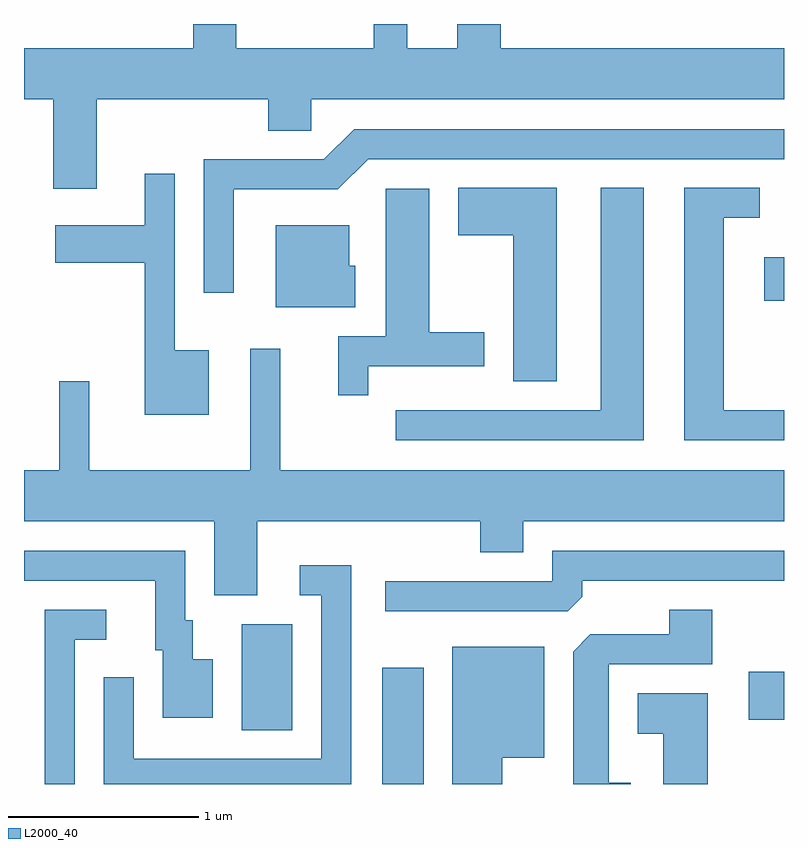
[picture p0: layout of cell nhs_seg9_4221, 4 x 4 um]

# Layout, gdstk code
import gdstk
lib = gdstk.Library(unit=1e-6, precision=1e-09)
def R(c, l, rs):  # rectangles x0, y0, x1, y1
    for r in rs: c.add(gdstk.rectangle(r[:2], r[2:], *l))
def P(c, l, *ps):  # polygons
    for p in ps: c.add(gdstk.Polygon(p, *l))
L2000_40 = (2000, 40)

nhs_seg9_4221 = lib.new_cell('nhs_seg9_4221')
R(nhs_seg9_4221, L2000_40, [(311.496,1990.432,311.714,1991.044), (310.756,1990.716,311.024,1991.274), (313.426,1990.771,313.611,1991.024), (313.506,1992.976,313.611,1993.204)])
P(nhs_seg9_4221, L2000_40, [(309.994,1994.036),(310.896,1994.036),(310.896,1993.871),(311.124,1993.871),(311.124,1994.036),(313.611,1994.036),(313.611,1994.304),(312.119,1994.304),(312.119,1994.432),(311.891,1994.432),(311.891,1994.304),(311.629,1994.304),(311.629,1994.432),(311.451,1994.432),(311.451,1994.304),(310.729,1994.304),(310.729,1994.432),(310.501,1994.432),(310.501,1994.304),(309.611,1994.304),(309.611,1994.036),(309.766,1994.036),(309.766,1993.566),(309.994,1993.566)],
  [(310.714,1993.561),(311.262,1993.561),(311.422,1993.721),(313.611,1993.721),(313.611,1993.879),(311.349,1993.879),(311.189,1993.719),(310.556,1993.719),(310.556,1993.018),(310.714,1993.018)],
  [(310.584,1992.714),(310.404,1992.714),(310.404,1993.643),(310.246,1993.643),(310.246,1993.374),(309.776,1993.374),(309.776,1993.176),(310.246,1993.176),(310.246,1992.376),(310.584,1992.376)],
  [(312.874,1993.569),(312.646,1993.569),(312.646,1992.399),(311.568,1992.399),(311.568,1992.241),(312.874,1992.241)],
  [(313.611,1992.399),(313.294,1992.399),(313.294,1993.411),(313.483,1993.411),(313.483,1993.569),(313.086,1993.569),(313.086,1992.241),(313.611,1992.241)],
  [(312.414,1993.569),(311.896,1993.569),(311.896,1993.321),(312.186,1993.321),(312.186,1992.551),(312.414,1992.551)],
  [(311.424,1992.631),(312.034,1992.631),(312.034,1992.809),(311.744,1992.809),(311.744,1993.564),(311.516,1993.564),(311.516,1992.789),(311.266,1992.789),(311.266,1992.478),(311.424,1992.478)],
  [(311.354,1993.159),(311.324,1993.159),(311.324,1993.374),(310.936,1993.374),(310.936,1992.941),(311.354,1992.941)],
  [(310.839,1991.816),(312.011,1991.816),(312.011,1991.651),(312.239,1991.651),(312.239,1991.816),(313.611,1991.816),(313.611,1992.084),(310.959,1992.084),(310.959,1992.723),(310.801,1992.723),(310.801,1992.084),(309.954,1992.084),(309.954,1992.553),(309.796,1992.553),(309.796,1992.084),(309.611,1992.084),(309.611,1991.816),(310.611,1991.816),(310.611,1991.426),(310.839,1991.426)],
  [(312.549,1991.417),(312.549,1991.501),(313.611,1991.501),(313.611,1991.659),(312.391,1991.659),(312.391,1991.499),(311.513,1991.499),(311.513,1991.341),(312.474,1991.341)],
  [(310.604,1991.089),(310.499,1991.089),(310.499,1991.294),(310.459,1991.294),(310.459,1991.659),(309.611,1991.659),(309.611,1991.501),(310.301,1991.501),(310.301,1991.136),(310.341,1991.136),(310.341,1990.781),(310.604,1990.781)],
  [(311.334,1991.584),(311.063,1991.584),(311.063,1991.426),(311.176,1991.426),(311.176,1990.564),(310.189,1990.564),(310.189,1990.993),(310.031,1990.993),(310.031,1990.432),(311.334,1990.432)],
  [(312.804,1990.439),(312.689,1990.439),(312.689,1991.061),(313.234,1991.061),(313.234,1991.349),(313.006,1991.349),(313.006,1991.219),(312.592,1991.219),(312.501,1991.129),(312.501,1990.432),(312.804,1990.432)],
  [(309.879,1991.191),(310.043,1991.191),(310.043,1991.349),(309.721,1991.349),(309.721,1990.432),(309.879,1990.432)],
  [(312.129,1990.571),(312.349,1990.571),(312.349,1991.154),(311.866,1991.154),(311.866,1990.432),(312.129,1990.432)],
  [(313.209,1990.909),(312.841,1990.909),(312.841,1990.696),(312.976,1990.696),(312.976,1990.432),(313.209,1990.432)])

lib.write_gds('nhs_seg9_4221.gds')
